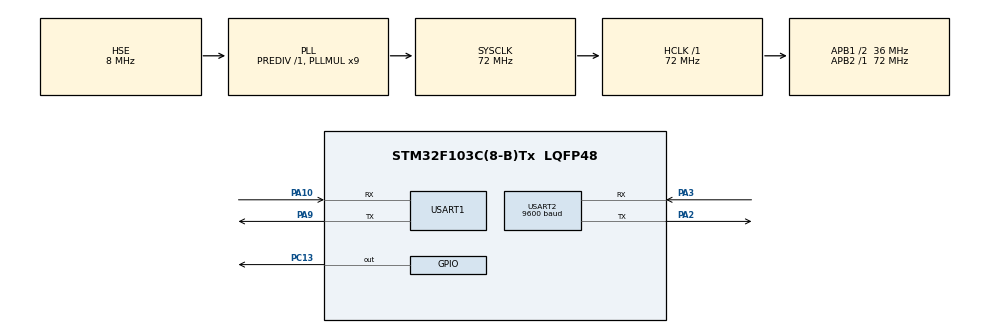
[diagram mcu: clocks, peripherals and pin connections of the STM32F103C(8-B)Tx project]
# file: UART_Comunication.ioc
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Mcu.Family=STM32F1
Mcu.Name=STM32F103C(8-B)Tx
Mcu.Package=LQFP48
NVIC.PriorityGroup=NVIC_PRIORITYGROUP_4
NVIC.USART1_IRQn=true\:0\:0\:false\:false\:true\:true\:true\:true
NVIC.USART2_IRQn=true\:0\:0\:false\:false\:true\:true\:true\:true
PA10.Mode=Asynchronous
PA10.Signal=USART1_RX
PA13.Mode=Serial_Wire
PA13.Signal=SYS_JTMS-SWDIO
PA14.Mode=Serial_Wire
PA14.Signal=SYS_JTCK-SWCLK
PA2.Mode=Asynchronous
PA2.Signal=USART2_TX
PA3.Mode=Asynchronous
PA3.Signal=USART2_RX
PA9.Mode=Asynchronous
PA9.Signal=USART1_TX
PC13-TAMPER-RTC.Signal=GPIO_Output
PD0-OSC_IN.Mode=HSE-External-Oscillator
PD0-OSC_IN.Signal=RCC_OSC_IN
PD1-OSC_OUT.Mode=HSE-External-Oscillator
PD1-OSC_OUT.Signal=RCC_OSC_OUT
ProjectManager.HeapSize=0x200
ProjectManager.StackSize=0x400
ProjectManager.TargetToolchain=STM32CubeIDE
RCC.AHBFreq_Value=72000000
RCC.APB1CLKDivider=RCC_HCLK_DIV2
RCC.APB1Freq_Value=36000000
RCC.APB1TimFreq_Value=72000000
RCC.APB2Freq_Value=72000000
RCC.APB2TimFreq_Value=72000000
RCC.HCLKFreq_Value=72000000
RCC.PLLMUL=RCC_PLL_MUL9
RCC.PLLSourceVirtual=RCC_PLLSOURCE_HSE
RCC.SYSCLKFreq_VALUE=72000000
RCC.SYSCLKSource=RCC_SYSCLKSOURCE_PLLCLK
RCC.USBFreq_Value=72000000
USART1.VirtualMode=VM_ASYNC
USART2.BaudRate=9600
USART2.VirtualMode=VM_ASYNC
board=custom

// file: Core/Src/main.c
/* USER CODE BEGIN Header */
/**
  ******************************************************************************
  * @file           : main.c
  * @brief          : Main program body
  ******************************************************************************
  * @attention
  *
  * Copyright (c) 2025 STMicroelectronics.
  * All rights reserved.
  *
  * This software is licensed under terms that can be found in the LICENSE file
  * in the root directory of this software component.
  * If no LICENSE file comes with this software, it is provided AS-IS.
  *
  ******************************************************************************
  */
/* USER CODE END Header */
#include "main.h"

/* USER CODE BEGIN Includes */
#include <stdio.h>
#include <string.h>
#include <stdlib.h>
#include <string.h>
/* USER CODE END Includes */

/* USER CODE BEGIN PD */
#define UART_BUFFER_SIZE 128
/* USER CODE END PD */

UART_HandleTypeDef huart1;
UART_HandleTypeDef huart2;

/* USER CODE BEGIN PV */

volatile uint8_t uart_rx_byte; // Buffer untuk menerima byte per byte
volatile uint8_t uart_rx_buffer[UART_BUFFER_SIZE]; // Buffer untuk menyimpan string
volatile uint16_t uart_rx_index = 0; // Indeks buffer
volatile uint8_t data_ready = 0; // Flag data siap

uint32_t last_blink_time = 0;

int size = 4;
char *array[4];

/* USER CODE END PV */

void SystemClock_Config(void);
static void MX_GPIO_Init(void);
static void MX_USART1_UART_Init(void);
static void MX_USART2_UART_Init(void);
/* USER CODE BEGIN PFP */
void split_str(char *buf, char **array, int size, char *del);
/* USER CODE END PFP */

int main(void)
{

  /* MCU Configuration--------------------------------------------------------*/

  /* Reset of all peripherals, Initializes the Flash interface and the Systick. */
  HAL_Init();

  /* Configure the system clock */
  SystemClock_Config();

  /* Initialize all configured peripherals */
  MX_GPIO_Init();
  MX_USART1_UART_Init();
  MX_USART2_UART_Init();
  /* USER CODE BEGIN 2 */

  printf("STM32 UART Initialized.\r\n");

//  HAL_UART_Receive_IT(&huart2, (uint8_t *)uart_rx_buffer, UART_BUFFER_SIZE); // Mulai menerima data

  HAL_UART_Receive_IT(&huart2, (uint8_t *)&uart_rx_byte, 1);

  /* USER CODE END 2 */

  /* Infinite loop */
  /* USER CODE BEGIN WHILE */
  while (1)
  {

	  /* cek apabila data ready */
	  if (data_ready) {

		  split_str(uart_rx_buffer, array, size, ",");
//		  printf("\r%s", uart_rx_buffer);
		  printf("\r%s : %s : %s\n", array[0], array[1], array[2]);
		  // parsing data GPS
		  data_ready = 0;
	  }

	  // Non-blocking LED blink
	  if (HAL_GetTick() - last_blink_time >= 1000) {
		  HAL_GPIO_TogglePin(GPIOC, GPIO_PIN_13);
		  last_blink_time = HAL_GetTick();
	  }

    /* USER CODE END WHILE */

  }
}

void SystemClock_Config(void)
{
  RCC_OscInitTypeDef RCC_OscInitStruct = {0};
  RCC_ClkInitTypeDef RCC_ClkInitStruct = {0};

  /** Initializes the RCC Oscillators according to the specified parameters
  * in the RCC_OscInitTypeDef structure.
  */
  RCC_OscInitStruct.OscillatorType = RCC_OSCILLATORTYPE_HSE;
  RCC_OscInitStruct.HSEState = RCC_HSE_ON;
  RCC_OscInitStruct.HSEPredivValue = RCC_HSE_PREDIV_DIV1;
  RCC_OscInitStruct.HSIState = RCC_HSI_ON;
  RCC_OscInitStruct.PLL.PLLState = RCC_PLL_ON;
  RCC_OscInitStruct.PLL.PLLSource = RCC_PLLSOURCE_HSE;
  RCC_OscInitStruct.PLL.PLLMUL = RCC_PLL_MUL9;
  if (HAL_RCC_OscConfig(&RCC_OscInitStruct) != HAL_OK)
  {
    Error_Handler();
  }

  /** Initializes the CPU, AHB and APB buses clocks
  */
  RCC_ClkInitStruct.ClockType = RCC_CLOCKTYPE_HCLK|RCC_CLOCKTYPE_SYSCLK
                              |RCC_CLOCKTYPE_PCLK1|RCC_CLOCKTYPE_PCLK2;
  RCC_ClkInitStruct.SYSCLKSource = RCC_SYSCLKSOURCE_PLLCLK;
  RCC_ClkInitStruct.AHBCLKDivider = RCC_SYSCLK_DIV1;
  RCC_ClkInitStruct.APB1CLKDivider = RCC_HCLK_DIV2;
  RCC_ClkInitStruct.APB2CLKDivider = RCC_HCLK_DIV1;

  if (HAL_RCC_ClockConfig(&RCC_ClkInitStruct, FLASH_LATENCY_2) != HAL_OK)
  {
    Error_Handler();
  }
}

static void MX_USART1_UART_Init(void)
{

  huart1.Instance = USART1;
  huart1.Init.BaudRate = 115200;
  huart1.Init.WordLength = UART_WORDLENGTH_8B;
  huart1.Init.StopBits = UART_STOPBITS_1;
  huart1.Init.Parity = UART_PARITY_NONE;
  huart1.Init.Mode = UART_MODE_TX_RX;
  huart1.Init.HwFlowCtl = UART_HWCONTROL_NONE;
  huart1.Init.OverSampling = UART_OVERSAMPLING_16;
  if (HAL_UART_Init(&huart1) != HAL_OK)
  {
    Error_Handler();
  }

}

static void MX_USART2_UART_Init(void)
{

  huart2.Instance = USART2;
  huart2.Init.BaudRate = 9600;
  huart2.Init.WordLength = UART_WORDLENGTH_8B;
  huart2.Init.StopBits = UART_STOPBITS_1;
  huart2.Init.Parity = UART_PARITY_NONE;
  huart2.Init.Mode = UART_MODE_TX_RX;
  huart2.Init.HwFlowCtl = UART_HWCONTROL_NONE;
  huart2.Init.OverSampling = UART_OVERSAMPLING_16;
  if (HAL_UART_Init(&huart2) != HAL_OK)
  {
    Error_Handler();
  }

}

static void MX_GPIO_Init(void)
{
  GPIO_InitTypeDef GPIO_InitStruct = {0};

  /* GPIO Ports Clock Enable */
  __HAL_RCC_GPIOC_CLK_ENABLE();
  __HAL_RCC_GPIOD_CLK_ENABLE();
  __HAL_RCC_GPIOA_CLK_ENABLE();

  /*Configure GPIO pin Output Level */
  HAL_GPIO_WritePin(GPIOC, GPIO_PIN_13, GPIO_PIN_RESET);

  /*Configure GPIO pin : PC13 */
  GPIO_InitStruct.Pin = GPIO_PIN_13;
  GPIO_InitStruct.Mode = GPIO_MODE_OUTPUT_PP;
  GPIO_InitStruct.Pull = GPIO_NOPULL;
  GPIO_InitStruct.Speed = GPIO_SPEED_FREQ_LOW;
  HAL_GPIO_Init(GPIOC, &GPIO_InitStruct);

}

/* USER CODE BEGIN 4 */

/**
  * @brief  Memisahkan string dengan delimiter
  * @param  buf: string yang akan di split
  * @param	array: array untuk menyimpan hasil split
  * @param	size: ukuran dari array
  * @param  del: delimiter yang digunakan untuk memisahkan string
  * @retval None
  */
void split_str(char *buf, char **array, int size, char *del) {
	char *token;
	char *saveptr; // deklarasi array untuk menyimpan hasil
	int i = 0;

	token = strtok_r(buf, del, &saveptr);

	while (token != NULL && i < size) {
		array[i] = token;
		token = strtok_r(NULL, del, &saveptr);
		i++;
	}
}

/**
  * Fungsi callback akan dipanggil
  * setiap HAL_UART_Receive_IT()
  * selesai dijalankan
  */
void HAL_UART_RxCpltCallback(UART_HandleTypeDef *huart) {
	if (huart->Instance == USART2) {
		// Simpan byte yang diterima ke buffer
		if (uart_rx_byte == '\n' || uart_rx_index >= UART_BUFFER_SIZE - 1) {
			uart_rx_buffer[uart_rx_index] = '\0'; // Tambahkan null terminator
			data_ready = 1; // Tandai bahwa data telah diterima sepenuhnya
			uart_rx_index = 0; // Reset indeks untuk data berikutnya
		} else {
			uart_rx_buffer[uart_rx_index++] = uart_rx_byte; // Simpan data ke buffer
		}

		// Restart menerima data (satu byte per kali)
		HAL_UART_Receive_IT(&huart2, (uint8_t *)&uart_rx_byte, 1);
	}
}

void HAL_UART_TxCpltCallback(UART_HandleTypeDef *huart)
{
	__NOP(); // for debugging
}

/* USER CODE END 4 */

void Error_Handler(void)
{
  __disable_irq();
  while (1)
  {
  }
}
